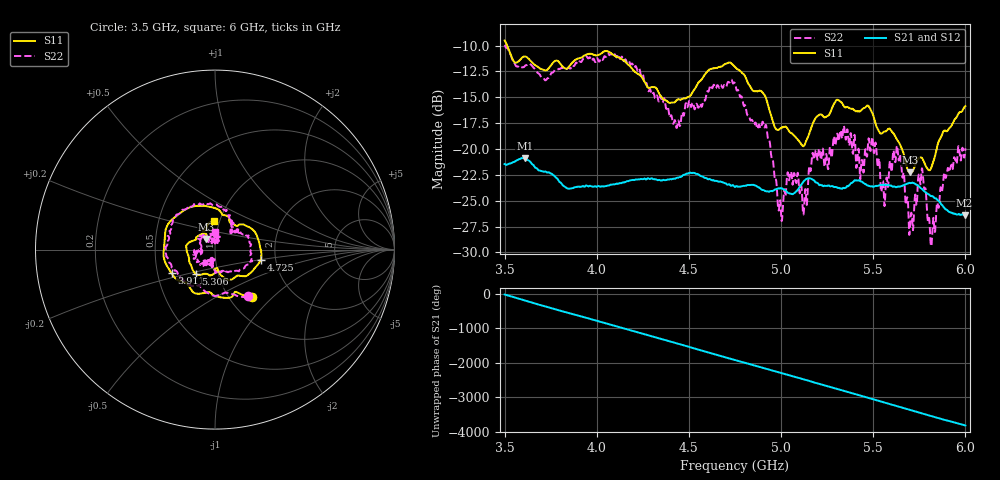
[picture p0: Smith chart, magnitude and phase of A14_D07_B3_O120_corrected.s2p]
! Created with skrf 1.9.0 (http://scikit-rf.org).
# Hz S RI R 50.0
!freq ReS11 ImS11 ReS21 ImS21 ReS12 ImS12 ReS22 ImS22
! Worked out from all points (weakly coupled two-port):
!   1601 points, 3.5 GHz to 6 GHz, reference 50 ohm
!   highest |S21| = -20.87 dB at 3.609 GHz (marker M1); lowest = -26.4 dB at 5.995 GHz (marker M2)
!   lowest |S11| = -22.3 dB at 5.702 GHz (marker M3), VSWR 1.17, Z = 44.9 + j5.3 ohm
!   |S11| at or under -10 dB: 3.514 GHz to end of sweep
!   |S22| runs from -29.4 to -9.9 dB; largest |S21 - S12| = 0.001
!   S11 on the Smith chart (normalised r, x): 3.5 GHz: 1.27, -0.75; 3.911 GHz: 0.59, -0.17; 4.725 GHz: 1.67, -0.20; 5.306 GHz: 0.78, -0.22; 6 GHz: 0.94, +0.31
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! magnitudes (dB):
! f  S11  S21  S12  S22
! 3.5 GHz  -9.5  -21.4  -21.4  -9.9
! 3.609 GHz  -11.1  -20.9  -20.9  -12.0
! 3.911 GHz  -11.2  -23.7  -23.6  -11.6
! 3.917 GHz  -11.2  -23.6  -23.6  -11.6
! 4.334 GHz  -14.5  -23.0  -23.0  -15.4
! 4.442 GHz  -15.2  -22.8  -22.7  -17.2
! 4.725 GHz  -11.7  -23.5  -23.4  -13.5
! 4.75 GHz  -12.1  -23.7  -23.6  -13.7
! 4.912 GHz  -14.8  -24.0  -24.0  -17.8
! 4.995 GHz  -18.0  -23.8  -23.8  -25.0
! 5.045 GHz  -18.3  -24.3  -24.3  -22.9
! 5.13 GHz  -19.5  -23.0  -23.0  -24.1
! 5.167 GHz  -17.7  -22.9  -22.9  -20.8
! 5.306 GHz  -15.2  -23.7  -23.7  -18.6
! 5.584 GHz  -18.0  -23.5  -23.5  -22.6
! 5.639 GHz  -19.4  -23.6  -23.6  -21.1
! 5.702 GHz  -22.3  -23.3  -23.3  -26.8
! 5.758 GHz  -20.8  -23.8  -23.7  -23.2
! 5.822 GHz  -21.5  -24.6  -24.5  -27.7
! 5.894 GHz  -18.2  -25.8  -25.8  -22.8
! 5.995 GHz  -15.9  -26.4  -26.3  -20.7
! 6 GHz  -15.8  -26.4  -26.3  -19.9
